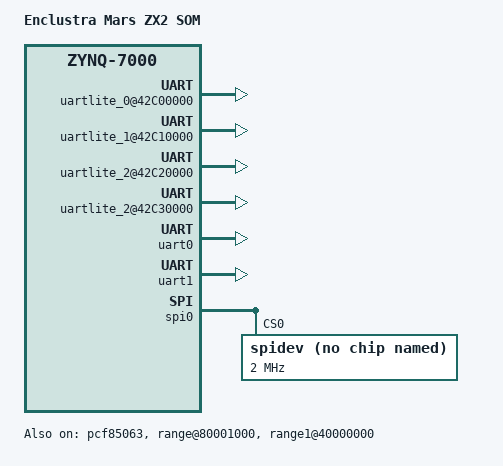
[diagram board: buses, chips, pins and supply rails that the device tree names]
/*
 *  Copyright (C) 2011 - 2014 Xilinx
 *  Copyright (C) 2012 National Instruments Corp.
 *
 * This software is licensed under the terms of the GNU General Public
 * License version 2, as published by the Free Software Foundation, and
 * may be copied, distributed, and modified under those terms.
 *
 * This program is distributed in the hope that it will be useful,
 * but WITHOUT ANY WARRANTY; without even the implied warranty of
 * MERCHANTABILITY or FITNESS FOR A PARTICULAR PURPOSE.  See the
 * GNU General Public License for more details.
 */
/dts-v1/;
/include/ "zynq-7000.dtsi"
/include/ "zynq-enclustra-zx-common.dtsi"
/include/ "zynq-enclustra-qspi-parts.dtsi"

/ {
	model = "Enclustra Mars ZX2 SOM";

	ptb_1588_0: ptb_1588@43c10000 {
		    clock-names = "s_axi_aclk";
		    clocks = <&clkc 15>;
		    compatible = "xlnx,ptb-1588-18.11";
		    interrupt-names = "ptp_interrupt";
		    interrupt-parent = <&intc>;
		    interrupts = <0 0x25 4>;
		    reg = <0x43c10000 0x10000>;
		    xlnx,edge-type-event-0 = <0x1>;
		    xlnx,edge-type-event-1 = <0x1>;
		    xlnx,edge-type-event-2 = <0x1>;
		    xlnx,edge-type-event-3 = <0x1>;
		    xlnx,enable-alarm-detect = "false";
		    xlnx,enable-event-timestamping = "false";
		    xlnx,fpga-family = <0x0>;
		    xlnx,frame-format = <0x0>;
		    xlnx,interface-speed = <0x0>;
		    xlnx,interface-type = <0x1>;
		    xlnx,num-alarms = <0x1>;
		    xlnx,num-event-timestamping = <0x1>;
		    xlnx,passthrough-mode = "false";
		    xlnx,pulse-width = <0xbebc200>;
		    xlnx,system-freq = <0x5f5e100>;
		    xlnx,timer-internal = <0x1>;
		    xlnx,use-pps-out = "true";
		    xlnx,use-timer-out = "false";
		    xlnx,user-pulse-enable = "false";
		    xlnx,user-pulse-sel = <0x1>;
		    xlnx,user-pulse-width = <0x7d0>;
		    soce,ethernet-ref = &gem1;
		};

	interruptIRQ_DBG_1@0{
		compatible="generic-uio";
		status="okay";
		interrupt-controller;
		interrupt-parent=<0x4>;
		interrupts=<0x0 0x1D 0x4>;
	};
	interruptIRQ_PL_2@1{
		compatible="generic-uio";
		status="okay";
		interrupt-controller;
		interrupt-parent=<0x4>;
		interrupts=<0x0 0x1E 0x4>;
	};
	interruptIRQ_PL_3@2{
		compatible="generic-uio";
		status="okay";
		interrupt-controller;
		interrupt-parent=<0x4>;
		interrupts=<0x0 0x1F 0x4>;
	};
	interruptIRQ_PL_4@3{
		compatible="generic-uio";
		status="okay";
		interrupt-controller;
		interrupt-parent=<0x4>;
		interrupts=<0x0 0x20 0x4>;
	};
	interruptIRQ_PL_5@4{
		compatible="generic-uio";
		status="okay";
		interrupt-controller;
		interrupt-parent=<0x4>;
		interrupts=<0x0 0x21 0x4>;
	};
	interruptIRQ_PL_6@5{
		compatible="generic-uio";
		status="okay";
		interrupt-controller;
		interrupt-parent=<0x4>;
		interrupts=<0x0 0x22 0x4>;
	};
	interruptIRQ_PL_7@6{
		compatible="generic-uio";
		status="okay";
		interrupt-controller;
		interrupt-parent=<0x4>;
		interrupts=<0x0 0x23 0x4>;
	};
	uartlite_0@42C00000 {
		compatible = "xlnx,xps-uartlite-1.00.a";
		reg = <0x42C00000 0x10000>;
		status = "okay";
		interrupts = <0 0x24 4>;
		interrupt-parent = <&intc>;
    		clock = <100000000>;
		xlnx,baudrate = <0x1C200>;
		xlnx,data-bits = <0x8>;
		xlnx,odd-parity = <0x0>;
		xlnx,s-axi-aclk-freq-hz-d = "125.0";
		xlnx,use-parity = <0x0>;
	};
	uartlite_1@42C10000 {
		compatible = "xlnx,xps-uartlite-1.00.a";
		reg = <0x42C10000 0x10000>;
		status = "okay";
		interrupts = <0 0x24 4>;
		interrupt-parent = <&intc>;
    		clock = <100000000>;
		xlnx,baudrate = <0x1C200>;
		xlnx,data-bits = <0x8>;
		xlnx,odd-parity = <0x0>;
		xlnx,s-axi-aclk-freq-hz-d = "125.0";
		xlnx,use-parity = <0x0>;
	};

	uartlite_2@42C20000 {
		compatible = "xlnx,xps-uartlite-1.00.a";
		reg = <0x42C20000 0x10000>;
		status = "okay";
		interrupts = <0 0x24 4>;
		interrupt-parent = <&intc>;
		clock = <100000000>;
		xlnx,baudrate = <0x1C200>;
		xlnx,data-bits = <0x8>;
		xlnx,odd-parity = <0x0>;
		xlnx,s-axi-aclk-freq-hz-d = "125.0";
		xlnx,use-parity = <0x0>;
	};
	uartlite_2@42C30000 {compatible = "xlnx,xps-uartlite-1.00.a";
		reg = <0x42C30000 0x10000>;
		status = "okay";
		interrupts = <0 0x24 4>;
		interrupt-parent = <&intc>;
    	clock = <100000000>;
		xlnx,baudrate = <0x2580>;
		xlnx,data-bits = <0x8>;
		xlnx,odd-parity = <0x0>;
		xlnx,s-axi-aclk-freq-hz-d = "125.0";
		xlnx,use-parity = <0x0>;
	};

	range@80001000{
		name="range";
		reg = <0x80001000 0x10000>;
		compatible="generic-uio";
		status="okay";
	};
	range1@40000000{
		name="range1";
		reg = <0x40000000 0x10000>;
		compatible="generic-uio";
		status="okay";
	};
};

&uart0 {
	status = "okay";
};

&uart1 {
	status = "okay";
};

&spi0 {
 	is-decoded-cs = <0>;
  	num-cs = <1>;
 	status = "okay";
	spidev@0{
		compatible="spidev";
		reg =<0>; //chipselect 0
		spi-max-frequency= <2000000>;
	};
};
&pcf85063 {
	status = "okay";
};

